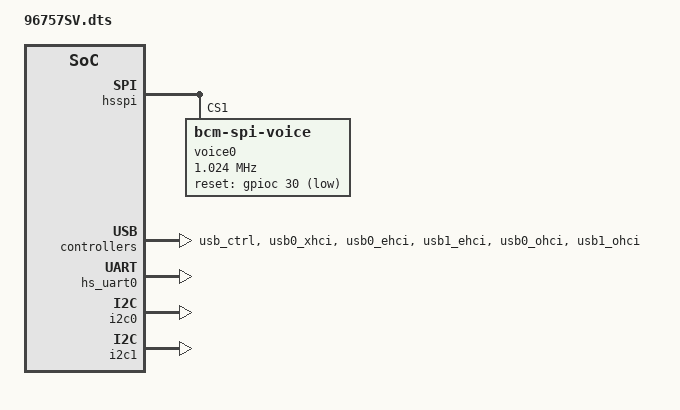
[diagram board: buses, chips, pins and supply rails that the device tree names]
#include "6756.dtsi"
#include "../bcm_voice.dtsi"

/ {
	memory_controller {
		memcfg = <(BP_DDR_SPEED_1067_14_14_14 | \
			BP_DDR_TOTAL_SIZE_512MB    | \
			BP_DDR_DEVICE_WIDTH_16     | \
			BP_DDR_TOTAL_WIDTH_16BIT   | \
			BP_DDR_6756_DEFAULT)>;
	};
};

&bcm_voice{
	sliclist = SLICSLAC_LIST_COMMON_NOFXO;
 };

&hsspi {
	voice0 {
		pinctrl-0 = <&spim_ss1_b_pin_76>;
		pinctrl-names = "default";
		compatible = "bcm-spi-voice";
		reg = <1>; /* chip select 1 */
		spi-max-frequency = <1024000>;
		reset-gpio = <&gpioc 30 GPIO_ACTIVE_LOW>;
		spi-index = <0>;/* voice header index */
	};
};

&mdio_sf2 {
	phy_ge:8 {
		status = "okay";
	};
	phy_serdes0:serdes0 {
		status = "okay";
	};
	phy_serdes1:serdes1 {
		status = "okay";
	};
};

&switch0 {
	pinctrl-names = "default"; 
	pinctrl-0 = <&a_rgmii_mdc_pin_68 &a_rgmii_mdio_pin_69>; 

	ports {
		port0@0 {
			phy-handle = <&phy_ge>;
			status = "okay";
		};
		port5@5 {
			phy-handle = <&phy_serdes0>;
			status = "okay";
		};
		port6@6 {
			phy-handle = <&phy_serdes1>;
			status = "okay";
		};
	};
};


&usb_ctrl {
	pinctrl-names="default";
	pinctrl-0 = <&usb0_pwr_pins &usb1_pwr_pins>;
	status = "okay";
	xhci-enable;
};

&usb0_xhci {
	status = "okay";
};

&usb0_ehci {
	status = "okay";
};

&usb1_ehci {
	status = "okay";
};

&usb0_ohci {
	status = "okay";
};

&usb1_ohci {
	status = "okay";
};

&hs_uart0 {
	status = "okay";
};

&i2c0 {
	pinctrl-names="default";
	pinctrl-0 = <&i2c_sda_pin_16 &i2c_scl_pin_17>;
	status = "okay";
};

&i2c1 {
	pinctrl-names="default";
	pinctrl-0 = <&a_i2c1_sda_pin_7 &a_i2c1_scl_pin_8>;
	status = "okay";
};
